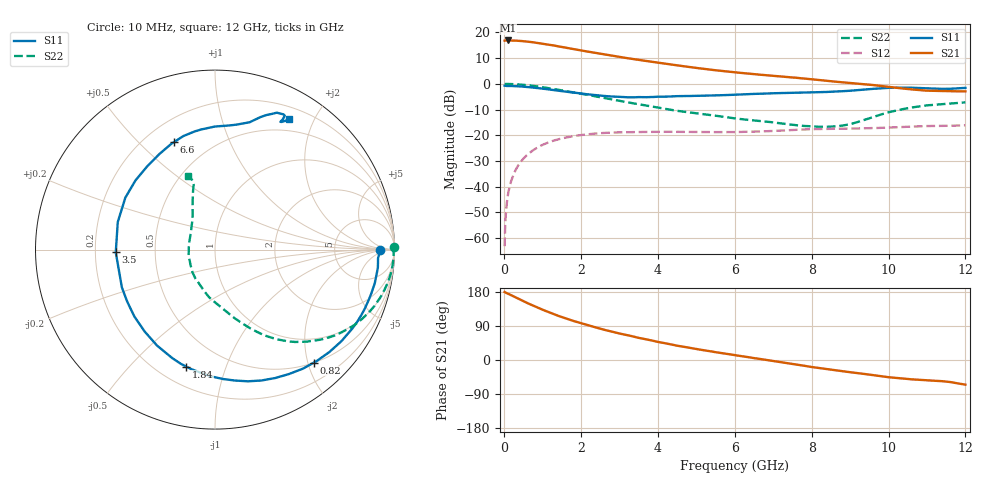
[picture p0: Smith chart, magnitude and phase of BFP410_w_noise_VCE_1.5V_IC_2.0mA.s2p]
! Infineon Technologies  Discrete & RF Semiconductors
! BFP410
! VCE =  1.5 V,  IC =  2.0 mA
! Common Emitter S-Parameters:  Nov 2015
# GHz  S  MA  R  50
!  f  S11  S21  S12  S22
! GHz  MAG  ANG  MAG  ANG  MAG  ANG  MAG  ANG
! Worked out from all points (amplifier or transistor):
!   243 points, 10 MHz to 12 GHz, reference 50 ohm
!   highest |S21| = 16.9 dB at 100 MHz (marker M1)
!   |S21| within 3 dB of that: start of sweep to 1.677 GHz
!   unconditionally stable (mu >= 1): 4.074 GHz to end of sweep
!   at 240 MHz: K = 0.04, MSG = 26.1 dB, |S12| = -35.3 dB
!   at 1.84 GHz: K = 0.39, MSG = 16.8 dB, |S12| = -20.2 dB
!   at 12 GHz: K = 1.16, MAG = 4.2 dB, |S12| = -16.1 dB
!   lowest NFmin = 0.82 dB at 900 MHz
!   S11 on the Smith chart (normalised r, x): 10 MHz: 25, +0; 820 MHz: 0.50, -2.11; 1.84 GHz: 0.31, -0.74; 3.5 GHz: 0.29, -0.01; 6.6 GHz: 0.32, +0.64; 12 GHz: 0.35, +1.67
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0.01  0.9217 0.0  6.92 179.4  0.0007 87.1  0.9969 0.7
0.02  0.9188 -1.0  6.969 179.1  0.0014 87.1  0.9931 -0.2
0.04  0.9126 -2.3  6.951 177.7  0.0028 87.5  0.995 -1.0
0.1  0.9134 -6.0  6.979 175.1  0.0072 86.6  0.9951 -3.2
0.22  0.9078 -13.1  6.948 169.1  0.0157 82.7  0.9892 -7.3
0.4  0.8935 -23.9  6.849 160.2  0.0284 76.8  0.9715 -13.1
0.6  0.8698 -35.9  6.633 150.3  0.0418 70.3  0.9421 -19.5
0.82  0.8367 -48.8  6.324 140.4  0.0553 63.2  0.9004 -26.0
1.08  0.7929 -63.7  5.914 129.3  0.0694 55.4  0.8432 -33.1
1.3  0.7563 -76.0  5.554 120.5  0.0795 49.2  0.7926 -38.5
1.6  0.7068 -91.8  5.06 109.6  0.0903 41.7  0.7246 -45.0
1.84  0.6716 -103.7  4.688 101.9  0.0973 36.4  0.6757 -49.5
2.02  0.6468 -112.3  4.437 96.4  0.1016 32.8  0.6402 -52.5
2.64  0.5797 -142.0  3.697 78.8  0.1115 21.4  0.5232 -62.2
3.5  0.5531 -178.4  2.928 58.4  0.116 10.3  0.4007 -73.7
4.1  0.563 161.3  2.525 45.9  0.1169 4.9  0.3356 -81.9
5  0.5874 138.9  2.04 28.8  0.1161 -1.4  0.2676 -97.0
6.1  0.6191 118.8  1.65 11.3  0.116 -5.2  0.2091 -115.1
6.6  0.6409 111.0  1.521 3.6  0.1185 -6.3  0.1908 -126.2
8.2  0.69 86.6  1.187 -21.3  0.1324 -13.8  0.1464 -177.0
10.2  0.8406 64.4  0.842 -47.2  0.1433 -22.1  0.3032 114.2
12  0.8351 60.3  0.715 -65.1  0.1564 -33.6  0.4371 109.9
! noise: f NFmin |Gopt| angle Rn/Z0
0.45  0.86  0.5  7  0.29
0.9  0.82  0.48  21  0.27
1.8  1.05  0.37  55  0.23
2.4  1.09  0.36  63  0.19
5.5  2.24  0.36  -145  0.21
10  3.98  0.7  -56  2.38
